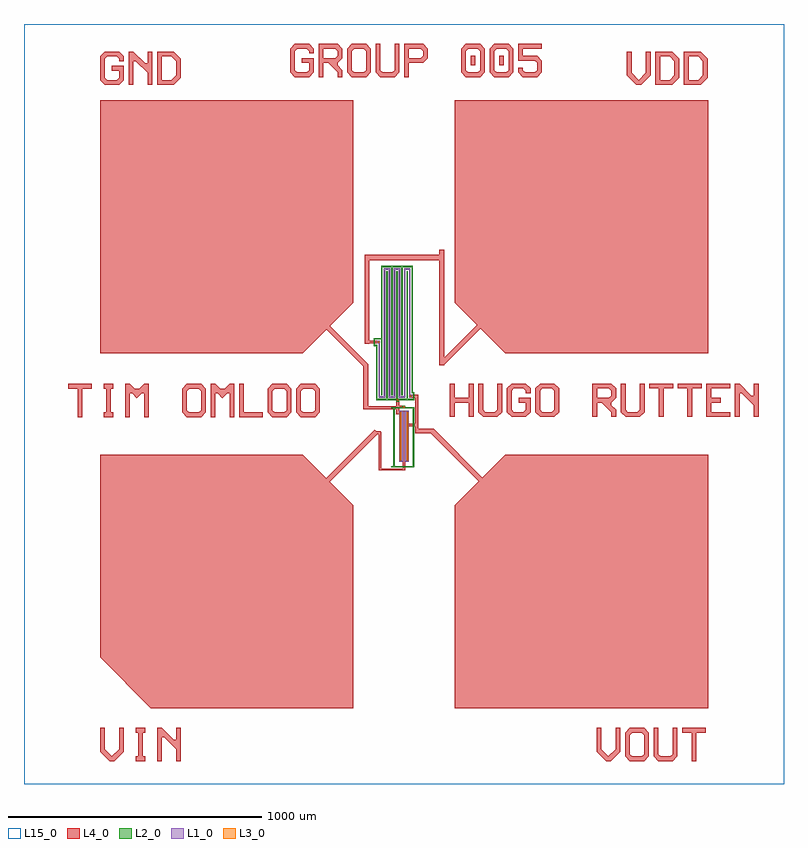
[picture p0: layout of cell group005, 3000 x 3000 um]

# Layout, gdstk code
import gdstk
lib = gdstk.Library(unit=1e-6, precision=1e-09)
def R(c, l, rs):  # rectangles x0, y0, x1, y1
    for r in rs: c.add(gdstk.rectangle(r[:2], r[2:], *l))
def A(c, l, x, y, w, h, nx, ny, dx, dy):  # array of equal rectangles
    R(c, l, [(x+i*dx, y+j*dy, x+i*dx+w, y+j*dy+h) for i in range(nx) for j in range(ny)])
def P(c, l, *ps):  # polygons
    for p in ps: c.add(gdstk.Polygon(p, *l))
L1_0 = (1, 0)
L2_0 = (2, 0)
L3_0 = (3, 0)
L4_0 = (4, 0)
L15_0 = (15, 0)

text_3 = lib.new_cell('TEXT$3')
R(text_3, L4_0, [(712.5,46.875,731.25,84.375), (825,46.875,843.75,84.375)])
P(text_3, L4_0, [(18.75,0),(0,18.75),(0,112.5),(18.75,131.25),(75,131.25),(93.75,112.5),(93.75,93.75),(75,93.75),(75,103.125),(65.625,112.5),(28.125,112.5),(18.75,103.125),(18.75,28.125),(28.125,18.75),(65.625,18.75),(75,28.125),(75,56.25),(46.875,56.25),(46.875,75),(93.75,75),(93.75,18.75),(75,0)],
  [(112.5,0),(112.5,131.25),(187.5,131.25),(206.25,112.5),(131.25,112.5),(131.25,75),(178.125,75),(187.5,84.375),(187.5,103.125),(178.125,112.5),(206.25,112.5),(206.25,75),(187.5,56.25),(187.5,46.875),(206.25,28.125),(206.25,0),(187.5,0),(187.5,18.75),(150,56.25),(131.25,56.25),(131.25,0)],
  [(243.75,0),(225,18.75),(225,112.5),(243.75,131.25),(300,131.25),(318.75,112.5),(318.75,65.625),(300,65.625),(300,103.125),(290.625,112.5),(253.125,112.5),(243.75,103.125),(243.75,28.125),(253.125,18.75),(290.625,18.75),(300,28.125),(300,65.625),(318.75,65.625),(318.75,18.75),(300,0)],
  [(356.25,0),(337.5,18.75),(337.5,131.25),(356.25,131.25),(356.25,28.125),(365.625,18.75),(403.125,18.75),(412.5,28.125),(412.5,131.25),(431.25,131.25),(431.25,18.75),(412.5,0)],
  [(450,0),(450,131.25),(525,131.25),(543.75,112.5),(543.75,75),(525,56.25),(468.75,56.25),(468.75,75),(515.625,75),(525,84.375),(525,103.125),(515.625,112.5),(468.75,112.5),(468.75,0)],
  [(693.75,0),(675,18.75),(675,112.5),(693.75,131.25),(750,131.25),(768.75,112.5),(703.125,112.5),(693.75,103.125),(693.75,28.125),(703.125,18.75),(740.625,18.75),(750,28.125),(750,103.125),(740.625,112.5),(768.75,112.5),(768.75,18.75),(750,0)],
  [(806.25,0),(787.5,18.75),(787.5,112.5),(806.25,131.25),(862.5,131.25),(881.25,112.5),(815.625,112.5),(806.25,103.125),(806.25,28.125),(815.625,18.75),(853.125,18.75),(862.5,28.125),(862.5,103.125),(853.125,112.5),(881.25,112.5),(881.25,18.75),(862.5,0)],
  [(918.75,0),(900,18.75),(900,37.5),(918.75,37.5),(918.75,28.125),(928.125,18.75),(965.625,18.75),(975,28.125),(975,56.25),(965.625,65.625),(900,65.625),(900,131.25),(993.75,131.25),(993.75,112.5),(918.75,112.5),(918.75,84.375),(975,84.375),(993.75,65.625),(993.75,18.75),(975,0)])

text_9 = lib.new_cell('TEXT$9')
P(text_9, L4_0, [(18.75,0),(0,18.75),(0,112.5),(18.75,131.25),(75,131.25),(93.75,112.5),(93.75,93.75),(75,93.75),(75,103.125),(65.625,112.5),(28.125,112.5),(18.75,103.125),(18.75,28.125),(28.125,18.75),(65.625,18.75),(75,28.125),(75,56.25),(46.875,56.25),(46.875,75),(93.75,75),(93.75,18.75),(75,0)],
  [(112.5,0),(112.5,131.25),(131.25,131.25),(178.125,84.375),(187.5,84.375),(187.5,131.25),(206.25,131.25),(206.25,0),(187.5,0),(187.5,46.875),(140.625,93.75),(131.25,93.75),(131.25,0)],
  [(225,0),(225,131.25),(290.625,131.25),(309.375,112.5),(243.75,112.5),(243.75,18.75),(281.25,18.75),(300,37.5),(300,93.75),(281.25,112.5),(309.375,112.5),(318.75,103.125),(318.75,28.125),(290.625,0)])

text_11 = lib.new_cell('TEXT$11')
P(text_11, L4_0, [(37.5,0),(0,37.5),(0,131.25),(18.75,131.25),(18.75,46.875),(46.875,18.75),(75,46.875),(75,131.25),(93.75,131.25),(93.75,37.5),(56.25,0)],
  [(112.5,0),(112.5,131.25),(178.125,131.25),(196.875,112.5),(131.25,112.5),(131.25,18.75),(168.75,18.75),(187.5,37.5),(187.5,93.75),(168.75,112.5),(196.875,112.5),(206.25,103.125),(206.25,28.125),(178.125,0)],
  [(225,0),(225,131.25),(290.625,131.25),(309.375,112.5),(243.75,112.5),(243.75,18.75),(281.25,18.75),(300,37.5),(300,93.75),(281.25,112.5),(309.375,112.5),(318.75,103.125),(318.75,28.125),(290.625,0)])

text_1 = lib.new_cell('TEXT$1')
P(text_1, L4_0, [(37.5,0),(0,37.5),(0,131.25),(18.75,131.25),(18.75,46.875),(46.875,18.75),(75,46.875),(75,131.25),(93.75,131.25),(93.75,37.5),(56.25,0)],
  [(140.625,0),(140.625,18.75),(150,18.75),(150,112.5),(140.625,112.5),(140.625,131.25),(178.125,131.25),(178.125,112.5),(168.75,112.5),(168.75,18.75),(178.125,18.75),(178.125,0)],
  [(225,0),(225,131.25),(243.75,131.25),(290.625,84.375),(300,84.375),(300,131.25),(318.75,131.25),(318.75,0),(300,0),(300,46.875),(253.125,93.75),(243.75,93.75),(243.75,0)])

text_2 = lib.new_cell('TEXT$2')
P(text_2, L4_0, [(37.5,0),(0,37.5),(0,131.25),(18.75,131.25),(18.75,46.875),(46.875,18.75),(75,46.875),(75,131.25),(93.75,131.25),(93.75,37.5),(56.25,0)],
  [(131.25,0),(112.5,18.75),(112.5,112.5),(131.25,131.25),(187.5,131.25),(206.25,112.5),(206.25,65.625),(187.5,65.625),(187.5,103.125),(178.125,112.5),(140.625,112.5),(131.25,103.125),(131.25,28.125),(140.625,18.75),(178.125,18.75),(187.5,28.125),(187.5,65.625),(206.25,65.625),(206.25,18.75),(187.5,0)],
  [(243.75,0),(225,18.75),(225,131.25),(243.75,131.25),(243.75,28.125),(253.125,18.75),(290.625,18.75),(300,28.125),(300,131.25),(318.75,131.25),(318.75,18.75),(300,0)],
  [(375,0),(375,112.5),(337.5,112.5),(337.5,131.25),(431.25,131.25),(431.25,112.5),(393.75,112.5),(393.75,0)])

text = lib.new_cell('TEXT')
P(text, L4_0, [(37.5,0),(37.5,112.5),(0,112.5),(0,131.25),(93.75,131.25),(93.75,112.5),(56.25,112.5),(56.25,0)],
  [(140.625,0),(140.625,18.75),(150,18.75),(150,112.5),(140.625,112.5),(140.625,131.25),(178.125,131.25),(178.125,112.5),(168.75,112.5),(168.75,18.75),(178.125,18.75),(178.125,0)],
  [(225,0),(225,131.25),(243.75,131.25),(262.5,112.5),(281.25,112.5),(300,131.25),(318.75,131.25),(318.75,0),(300,0),(300,93.75),(290.625,93.75),(271.875,75),(253.125,93.75),(243.75,93.75),(243.75,0)],
  [(468.75,0),(450,18.75),(450,112.5),(468.75,131.25),(525,131.25),(543.75,112.5),(543.75,65.625),(525,65.625),(525,103.125),(515.625,112.5),(478.125,112.5),(468.75,103.125),(468.75,28.125),(478.125,18.75),(515.625,18.75),(525,28.125),(525,65.625),(543.75,65.625),(543.75,18.75),(525,0)],
  [(562.5,0),(562.5,131.25),(581.25,131.25),(600,112.5),(618.75,112.5),(637.5,131.25),(656.25,131.25),(656.25,0),(637.5,0),(637.5,93.75),(628.125,93.75),(609.375,75),(590.625,93.75),(581.25,93.75),(581.25,0)],
  [(675,0),(675,131.25),(693.75,131.25),(693.75,18.75),(768.75,18.75),(768.75,0)],
  [(806.25,0),(787.5,18.75),(787.5,112.5),(806.25,131.25),(862.5,131.25),(881.25,112.5),(881.25,65.625),(862.5,65.625),(862.5,103.125),(853.125,112.5),(815.625,112.5),(806.25,103.125),(806.25,28.125),(815.625,18.75),(853.125,18.75),(862.5,28.125),(862.5,65.625),(881.25,65.625),(881.25,18.75),(862.5,0)],
  [(918.75,0),(900,18.75),(900,112.5),(918.75,131.25),(975,131.25),(993.75,112.5),(993.75,65.625),(975,65.625),(975,103.125),(965.625,112.5),(928.125,112.5),(918.75,103.125),(918.75,28.125),(928.125,18.75),(965.625,18.75),(975,28.125),(975,65.625),(993.75,65.625),(993.75,18.75),(975,0)])

text_4 = lib.new_cell('TEXT$4')
P(text_4, L4_0, [(0,0),(0,131.25),(18.75,131.25),(18.75,75),(75,75),(75,131.25),(93.75,131.25),(93.75,0),(75,0),(75,56.25),(18.75,56.25),(18.75,0)],
  [(131.25,0),(112.5,18.75),(112.5,131.25),(131.25,131.25),(131.25,28.125),(140.625,18.75),(178.125,18.75),(187.5,28.125),(187.5,131.25),(206.25,131.25),(206.25,18.75),(187.5,0)],
  [(243.75,0),(225,18.75),(225,112.5),(243.75,131.25),(300,131.25),(318.75,112.5),(318.75,93.75),(300,93.75),(300,103.125),(290.625,112.5),(253.125,112.5),(243.75,103.125),(243.75,28.125),(253.125,18.75),(290.625,18.75),(300,28.125),(300,56.25),(271.875,56.25),(271.875,75),(318.75,75),(318.75,18.75),(300,0)],
  [(356.25,0),(337.5,18.75),(337.5,112.5),(356.25,131.25),(412.5,131.25),(431.25,112.5),(431.25,65.625),(412.5,65.625),(412.5,103.125),(403.125,112.5),(365.625,112.5),(356.25,103.125),(356.25,28.125),(365.625,18.75),(403.125,18.75),(412.5,28.125),(412.5,65.625),(431.25,65.625),(431.25,18.75),(412.5,0)],
  [(562.5,0),(562.5,131.25),(637.5,131.25),(656.25,112.5),(581.25,112.5),(581.25,75),(628.125,75),(637.5,84.375),(637.5,103.125),(628.125,112.5),(656.25,112.5),(656.25,75),(637.5,56.25),(637.5,46.875),(656.25,28.125),(656.25,0),(637.5,0),(637.5,18.75),(600,56.25),(581.25,56.25),(581.25,0)],
  [(693.75,0),(675,18.75),(675,131.25),(693.75,131.25),(693.75,28.125),(703.125,18.75),(740.625,18.75),(750,28.125),(750,131.25),(768.75,131.25),(768.75,18.75),(750,0)],
  [(825,0),(825,112.5),(787.5,112.5),(787.5,131.25),(881.25,131.25),(881.25,112.5),(843.75,112.5),(843.75,0)],
  [(937.5,0),(937.5,112.5),(900,112.5),(900,131.25),(993.75,131.25),(993.75,112.5),(956.25,112.5),(956.25,0)],
  [(1012.5,0),(1012.5,131.25),(1106.25,131.25),(1106.25,112.5),(1031.25,112.5),(1031.25,75),(1068.75,75),(1068.75,56.25),(1031.25,56.25),(1031.25,18.75),(1106.25,18.75),(1106.25,0)],
  [(1125,0),(1125,131.25),(1143.75,131.25),(1190.625,84.375),(1200,84.375),(1200,131.25),(1218.75,131.25),(1218.75,0),(1200,0),(1200,46.875),(1153.125,93.75),(1143.75,93.75),(1143.75,0)])

group005 = lib.new_cell('group005')
A(group005, L1_0, -80, 25, 5, 510, 3, 1, 20, 0)
A(group005, L1_0, -75, 530, 15, 5, 3, 1, 40, 0)
R(group005, L1_0, [(-19,-227,-3,-27), (3,-227,19,-27), (-100,25,-95,240), (-95,25,-80,30), (-55,25,-40,30), (-20,25,5,30), (20,25,31,36), (-20,30,-15,535), (0,30,5,125), (20,35,25,535), (0,125,5,535), (-106,239,-95,250)])
P(group005, L1_0, [(-9,-56),(-9,-56),(-9,-56),(-9,-56)])
R(group005, L2_0, [(-50,-250,35,-245), (35,-250,40,-13), (-42,-245,-37,-14), (-50,-17,-6,-13), (-6.25,-17,4.75,-6), (4,-17,40,-13), (-30,9,-19,20), (-110,15,-70,20), (-70,15,-30,20), (-30,15,36,20), (36,15,41,47), (-110,20,-105,233), (-70,20,-65,525), (-30,20,-25,108), (10,20,15,115), (-90,35,-85,540), (-50,35,-45,540), (-10,35,-5,130), (30,42,35,130), (35,42,36,47), (-30,108,-25,525), (10,115,15,525), (-10,130,-5,540), (30,130,35,545), (-120,228,-110,233), (-120,233,-115,260), (-115,255,-105,260), (-105,255,-90,260), (-90,540,-80,545), (-80,540,-10,545), (-10,540,30,545)])
P(group005, L2_0, [(5,-17),(5,-17),(5,-17),(5,-17)],
  [(40,-14),(40,-13),(40,-13),(40,-14)])
R(group005, L3_0, [(-16,-222,-11,-32), (11,-222,16,-32), (-3,-14,2,-9), (-27,12,-22,17), (23,28,28,33), (-103,242,-98,247)])
R(group005, L4_0, [(-100,-262,5,-255), (-5,-260,5,-27), (-100,-256,-90,-112), (-19,-225,-8,-29), (8,-225,19,-29), (-117,-119,-91,-107), (45,-115,56,36), (54,-115,117.574,-98.431), (19,-87,52,-78), (-30,-40,-19,-17), (-160,-20,-30,-8), (-160,-20,-140.931,157.574), (-30,-17,4.75,-6), (-30,-11,-19,20), (20,25,54,36), (139,153,158.069,608), (-155.535,237,-136.466,589), (-152,239,-95,250), (-154,568,157,589)])
P(group005, L4_0, [(-302.426,-316.569),(-316.569,-302.426),(-115.074,-100.931),(-100.931,-115.074)],
  [(307.426,-316.569),(103.431,-112.574),(117.574,-98.431),(321.569,-302.426)],
  [(157.574,153.431),(143.431,167.574),(297.426,321.569),(311.569,307.426)],
  [(-155.074,143.431),(-316.569,304.926),(-302.426,319.069),(-140.931,157.574)],
  [(-1000,-1200),(-1200,-1000),(-1200,-200),(-400,-200),(-200,-400),(-200,-1200)],
  [(-1200,200),(-1200,1200),(-200,1200),(-200,400),(-400,200)],
  [(400,200),(200,400),(200,1200),(1200,1200),(1200,200)],
  [(200,-1200),(200,-400),(400,-200),(1200,-200),(1200,-1200)])
R(group005, L15_0, [(-1500,-1500,1500,1500)])
group005.add(gdstk.Reference(text_3, (-450,1290)))
group005.add(gdstk.Reference(text_9, (-1200,1260)))
group005.add(gdstk.Reference(text_11, (880,1260)))
group005.add(gdstk.Reference(text_1, (-1200,-1410)))
group005.add(gdstk.Reference(text_2, (760,-1410)))
group005.add(gdstk.Reference(text, (-1326,-52)))
group005.add(gdstk.Reference(text_4, (181,-51)))

lib.write_gds('group005.gds')
